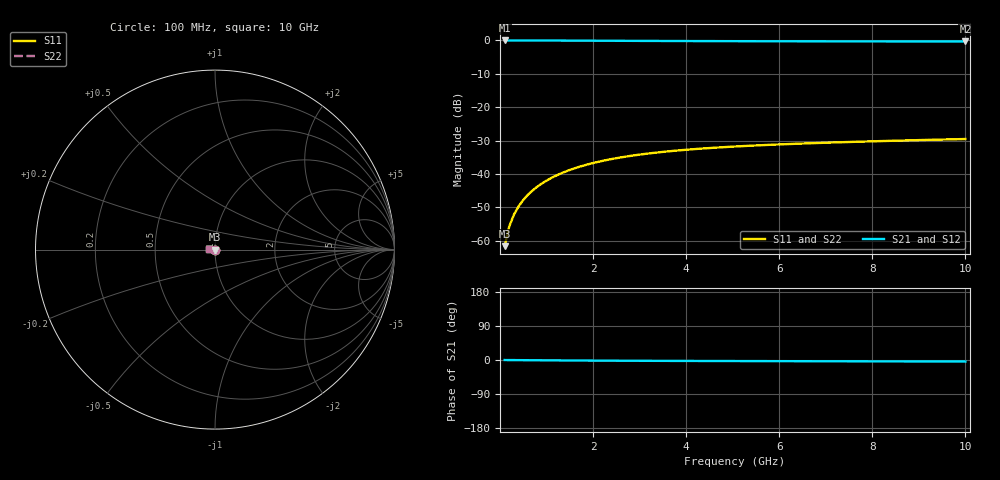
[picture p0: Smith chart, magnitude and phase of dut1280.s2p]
! Touchstone file exported from HFSS 2024.1.0
!  File:  C:/UserFiles/LocalFiles/RDL_TSV_Batchsim/temp_TSV1_1280_1780255251.aedt
!  Generated:  03:25:55 AM Jun  1, 2026
!  Design:  TSV1
!  Project:  temp_TSV1_1280_1780255251
!  Setup:  Setup1
!  Solution:  Sweep
! Variables:
!  dtsv = 8.46um
!  hbump = 3um
!  htsv = 61.74um
!  lrdl = 252.1521522um
!  p = 40
!  p1 = 46.43um
!  t = 500um
!  trdl = 3um
!  wrdl = 24.89489489um
# GHz S MA R 50.000000
! Terminal data exported
! Port[1] = TSV22_T1
! Port[2] = TSV22_T2
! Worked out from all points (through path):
!   100 points, 100 MHz to 10 GHz, reference 50 ohm
!   highest |S21| = 0.00 dB at 100 MHz (marker M1); lowest = -0.3 dB at 10 GHz (marker M2)
!   lowest |S11| = -61.6 dB at 100 MHz (marker M3), VSWR 1.00, Z = 50 - j0.0815 ohm
!   |S11| at or under -10 dB: start of sweep to end of sweep
!   |S22| runs from -61.6 to -29.5 dB; largest |S21 - S12| = 3.2e-15
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0.1  0.0008283 -79.6  0.9998 -0.1  0.9998 -0.1  0.0008283 -79.6
! Gamma 0 0 0 0
! Port Impedance 50 0 50 0
0.2  0.001641 -87.3  0.9997 -0.2  0.9997 -0.2  0.001641 -87.3
0.3  0.002456 -91.2  0.9996 -0.3  0.9996 -0.3  0.002456 -91.2
0.4  0.003267 -94.1  0.9994 -0.4  0.9994 -0.4  0.003267 -94.1
0.5  0.004071 -96.5  0.9991 -0.5  0.9991 -0.5  0.004071 -96.5
0.6  0.004867 -98.7  0.9988 -0.5  0.9988 -0.5  0.004867 -98.7
0.7  0.005654 -100.8  0.9985 -0.6  0.9985 -0.6  0.005654 -100.8
0.8  0.006429 -102.8  0.9981 -0.7  0.9981 -0.7  0.006429 -102.8
0.9  0.007193 -104.8  0.9977 -0.8  0.9977 -0.8  0.007193 -104.8
1.1  0.008679 -108.5  0.9968 -1.0  0.9968 -1.0  0.008679 -108.5
1.4  0.01079 -113.7  0.9952 -1.2  0.9952 -1.2  0.01079 -113.7
1.6  0.01212 -117.1  0.994 -1.3  0.994 -1.3  0.01212 -117.1
1.8  0.01338 -120.3  0.9927 -1.5  0.9927 -1.5  0.01338 -120.3
2.1  0.01513 -124.8  0.9908 -1.6  0.9908 -1.6  0.01513 -124.8
2.5  0.01723 -130.5  0.9882 -1.9  0.9882 -1.9  0.01723 -130.5
2.9  0.01907 -135.8  0.9857 -2.0  0.9857 -2.0  0.01907 -135.8
3.4  0.02105 -141.7  0.9828 -2.2  0.9828 -2.2  0.02105 -141.7
4.2  0.02362 -150.1  0.9788 -2.5  0.9788 -2.5  0.02362 -150.1
5.1  0.02588 -158.2  0.9751 -2.8  0.9751 -2.8  0.02588 -158.2
6.7  0.02889 -169.9  0.9703 -3.2  0.9703 -3.2  0.02889 -169.9
8.4  0.03136 -179.9  0.967 -3.7  0.967 -3.7  0.03136 -179.9
10  0.03337 172.2  0.9648 -4.1  0.9648 -4.1  0.03338 172.2
